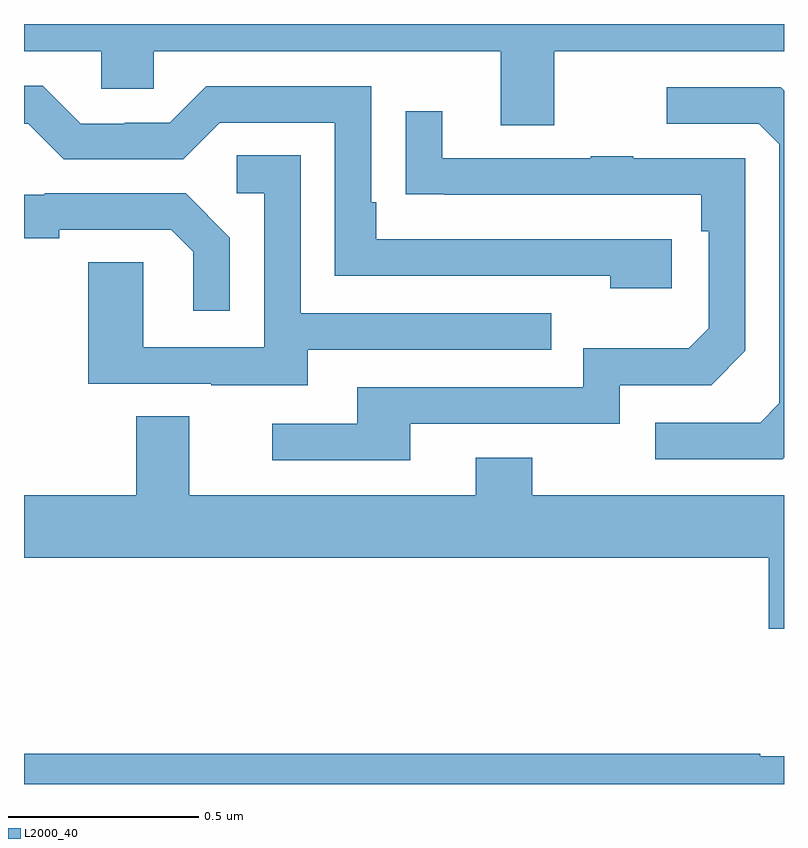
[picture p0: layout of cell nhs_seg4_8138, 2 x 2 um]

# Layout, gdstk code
import gdstk
lib = gdstk.Library(unit=1e-6, precision=1e-09)
def P(c, l, *ps):  # polygons
    for p in ps: c.add(gdstk.Polygon(p, *l))
L2000_40 = (2000, 40)

nhs_seg4_8138 = lib.new_cell('nhs_seg4_8138')
P(nhs_seg4_8138, L2000_40, [(213,788.9),(211,788.9),(211,788.828),(211.203,788.828),(211.203,788.73),(211.341,788.73),(211.341,788.828),(212.255,788.828),(212.255,788.634),(212.395,788.634),(212.395,788.828),(213,788.828)],
  [(212.704,788.334),(211.927,788.334),(211.927,788.431),(211.914,788.431),(211.914,788.736),(211.479,788.736),(211.383,788.64),(211.265,788.64),(211.265,788.637),(211.149,788.637),(211.049,788.737),(211,788.737),(211,788.637),(211.011,788.637),(211.104,788.544),(211.419,788.544),(211.515,788.64),(211.818,788.64),(211.818,788.238),(212.543,788.238),(212.543,788.204),(212.704,788.204)],
  [(213,787.758),(213,788.724),(212.991,788.733),(212.691,788.733),(212.691,788.637),(212.934,788.637),(212.988,788.583),(212.988,787.902),(212.937,787.851),(212.661,787.851),(212.661,787.755),(212.997,787.755)],
  [(212.017,787.848),(212.568,787.848),(212.568,787.95),(212.808,787.95),(212.898,788.04),(212.898,788.547),(212.603,788.547),(212.603,788.552),(212.491,788.552),(212.491,788.547),(212.101,788.547),(212.101,788.671),(212.005,788.671),(212.005,788.452),(212.107,788.452),(212.107,788.451),(212.782,788.451),(212.782,788.354),(212.802,788.354),(212.802,788.1),(212.749,788.047),(212.472,788.047),(212.472,787.944),(211.877,787.944),(211.877,787.848),(211.653,787.848),(211.653,787.752),(212.017,787.752)],
  [(211.747,788.043),(212.387,788.043),(212.387,788.139),(211.728,788.139),(211.728,788.555),(211.56,788.555),(211.56,788.454),(211.632,788.454),(211.632,788.049),(211.314,788.049),(211.314,788.273),(211.169,788.273),(211.169,787.953),(211.493,787.953),(211.493,787.949),(211.747,787.949)],
  [(211.542,788.338),(211.426,788.454),(211.054,788.454),(211.054,788.451),(211,788.451),(211,788.336),(211.093,788.336),(211.093,788.358),(211.388,788.358),(211.445,788.301),(211.445,788.145),(211.542,788.145)],
  [(213,787.66),(212.337,787.66),(212.337,787.759),(212.189,787.759),(212.189,787.66),(211.435,787.66),(211.435,787.868),(211.295,787.868),(211.295,787.66),(211,787.66),(211,787.496),(212.96,787.496),(212.96,787.308),(213,787.308)],
  [(213,786.973),(212.938,786.973),(212.938,786.98),(211,786.98),(211,786.9),(213,786.9)])

lib.write_gds('nhs_seg4_8138.gds')
